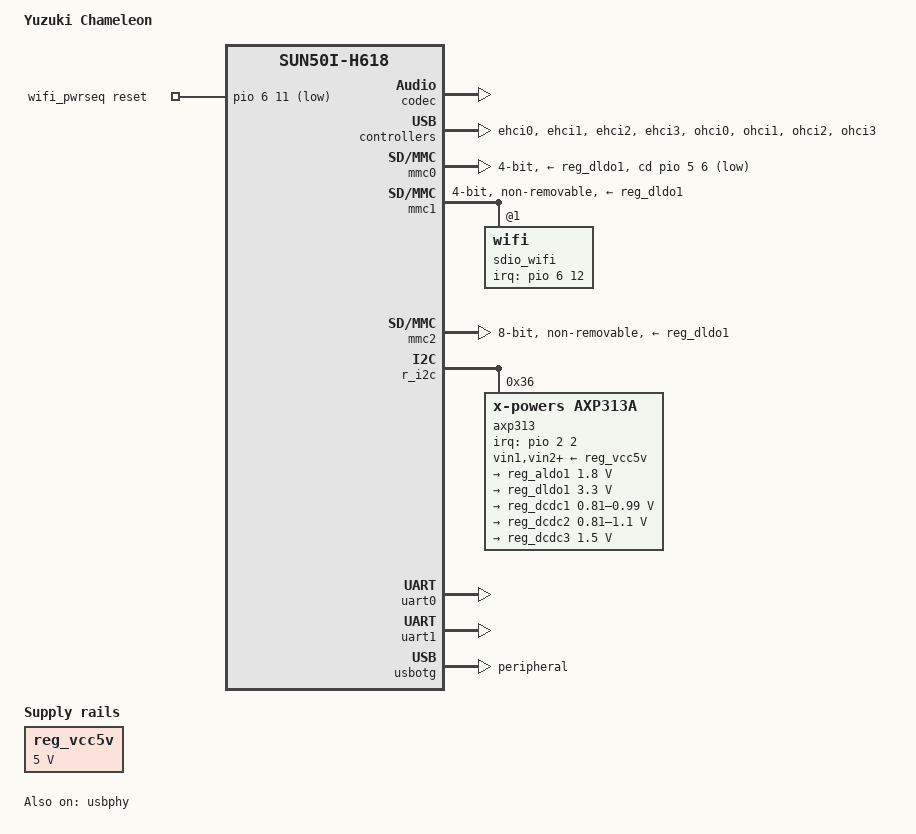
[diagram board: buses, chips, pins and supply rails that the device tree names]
// SPDX-License-Identifier: (GPL-2.0 OR MIT)
/*
 * Copyright (C) 2024 Arm Ltd.
 */

/dts-v1/;

#include "sun50i-h616.dtsi"
#include "sun50i-h616-cpu-opp.dtsi"

#include <dt-bindings/gpio/gpio.h>
#include <dt-bindings/interrupt-controller/arm-gic.h>

/ {
	model = "Yuzuki Chameleon";
	compatible = "yuzukihd,chameleon", "allwinner,sun50i-h618";

	aliases {
		ethernet1 = &sdio_wifi;
		serial0 = &uart0;
	};

	chosen {
		stdout-path = "serial0:115200n8";
	};

	reg_vcc5v: vcc5v {
		/* board wide 5V supply directly from the USB-C socket */
		compatible = "regulator-fixed";
		regulator-name = "vcc-5v";
		regulator-min-microvolt = <5000000>;
		regulator-max-microvolt = <5000000>;
		regulator-always-on;
	};

	wifi_pwrseq: pwrseq {
		compatible = "mmc-pwrseq-simple";
		clocks = <&rtc CLK_OSC32K_FANOUT>;
		clock-names = "ext_clock";
		pinctrl-0 = <&x32clk_fanout_pin>;
		pinctrl-names = "default";
		reset-gpios = <&pio 6 11 GPIO_ACTIVE_LOW>; /* PG11 */
	};
};

&codec {
	allwinner,audio-routing = "Line Out", "LINEOUT";
	status = "okay";
};

&cpu0 {
	cpu-supply = <&reg_dcdc2>;
};

&ehci0 {
	status = "okay";
};

&ehci1 {
	status = "okay";
};

&ehci2 {
	status = "okay";
};

&ehci3 {
	status = "okay";
};

&mmc0 {
	bus-width = <4>;
	cd-gpios = <&pio 5 6 GPIO_ACTIVE_LOW>;	/* PF6 */
	disable-wp;
	vmmc-supply = <&reg_dldo1>;
	status = "okay";
};

&mmc1 {
	bus-width = <4>;
	mmc-pwrseq = <&wifi_pwrseq>;
	non-removable;
	vmmc-supply = <&reg_dldo1>;
	vqmmc-supply = <&reg_dldo1>;
	status = "okay";

	sdio_wifi: wifi@1 {
		reg = <1>;
		interrupt-parent = <&pio>;
		interrupts = <6 12 IRQ_TYPE_LEVEL_LOW>;  /* PG12 */
		interrupt-names = "host-wake";
	};
};

&mmc2 {
	bus-width = <8>;
	cap-mmc-hw-reset;
	mmc-ddr-3_3v;
	non-removable;
	vmmc-supply = <&reg_dldo1>;
	vqmmc-supply = <&reg_dldo1>;
	status = "okay";
};

&ohci0 {
	status = "okay";
};

&ohci1 {
	status = "okay";
};

&ohci2 {
	status = "okay";
};

&ohci3 {
	status = "okay";
};

&pio {
	vcc-pc-supply = <&reg_dldo1>;
	vcc-pf-supply = <&reg_dldo1>;	/* via VCC_IO */
	vcc-pg-supply = <&reg_dldo1>;
	vcc-ph-supply = <&reg_dldo1>;	/* via VCC_IO */
	vcc-pi-supply = <&reg_dldo1>;
};

&r_i2c {
	status = "okay";

	axp313: pmic@36 {
		compatible = "x-powers,axp313a";
		reg = <0x36>;
		#interrupt-cells = <1>;
		interrupt-controller;
		interrupt-parent = <&pio>;
		interrupts = <2 2 IRQ_TYPE_LEVEL_LOW>;	/* PC2 */

		vin1-supply = <&reg_vcc5v>;
		vin2-supply = <&reg_vcc5v>;
		vin3-supply = <&reg_vcc5v>;

		regulators {
			/* Supplies VCC-PLL, so needs to be always on. */
			reg_aldo1: aldo1 {
				regulator-always-on;
				regulator-min-microvolt = <1800000>;
				regulator-max-microvolt = <1800000>;
				regulator-name = "vcc1v8";
			};

			/* Supplies VCC-IO, so needs to be always on. */
			reg_dldo1: dldo1 {
				regulator-always-on;
				regulator-min-microvolt = <3300000>;
				regulator-max-microvolt = <3300000>;
				regulator-name = "vcc3v3";
			};

			reg_dcdc1: dcdc1 {
				regulator-always-on;
				regulator-min-microvolt = <810000>;
				regulator-max-microvolt = <990000>;
				regulator-name = "vdd-gpu-sys";
			};

			reg_dcdc2: dcdc2 {
				regulator-always-on;
				regulator-min-microvolt = <810000>;
				regulator-max-microvolt = <1100000>;
				regulator-name = "vdd-cpu";
			};

			reg_dcdc3: dcdc3 {
				regulator-always-on;
				regulator-min-microvolt = <1500000>;
				regulator-max-microvolt = <1500000>;
				regulator-name = "vdd-dram";
			};
		};
	};
};

&uart0 {
	pinctrl-names = "default";
	pinctrl-0 = <&uart0_ph_pins>;
	status = "okay";
};

/* Connected to the Bluetooth UART pins of the XR829 Wifi/BT chip. */
&uart1 {
	pinctrl-names = "default";
	pinctrl-0 = <&uart1_pins>, <&uart1_rts_cts_pins>;
	uart-has-rtscts;
	status = "okay";
};

&usbotg {
	/*
	 * PHY0 pins are connected to a USB-C socket, but a role switch
	 * is not implemented: both CC pins are pulled to GND.
	 * The VBUS pins power the device, so a fixed peripheral mode
	 * is the best choice.
	 * The board can be powered via GPIOs, in this case port0 *can*
	 * act as a host (with a cable/adapter ignoring CC), as VBUS is
	 * then provided by the GPIOs. Any user of this setup would
	 * need to adjust the DT accordingly: dr_mode set to "host",
	 * enabling OHCI0 and EHCI0.
	 */
	dr_mode = "peripheral";
	status = "okay";
};

&usbphy {
	usb0_id_det-gpios = <&pio 6 18 GPIO_ACTIVE_HIGH>; /* PG18 */
	usb0_vbus-supply = <&reg_vcc5v>;
	usb1_vbus-supply = <&reg_vcc5v>;
	usb2_vbus-supply = <&reg_vcc5v>;
	usb3_vbus-supply = <&reg_vcc5v>;
	status = "okay";
};
